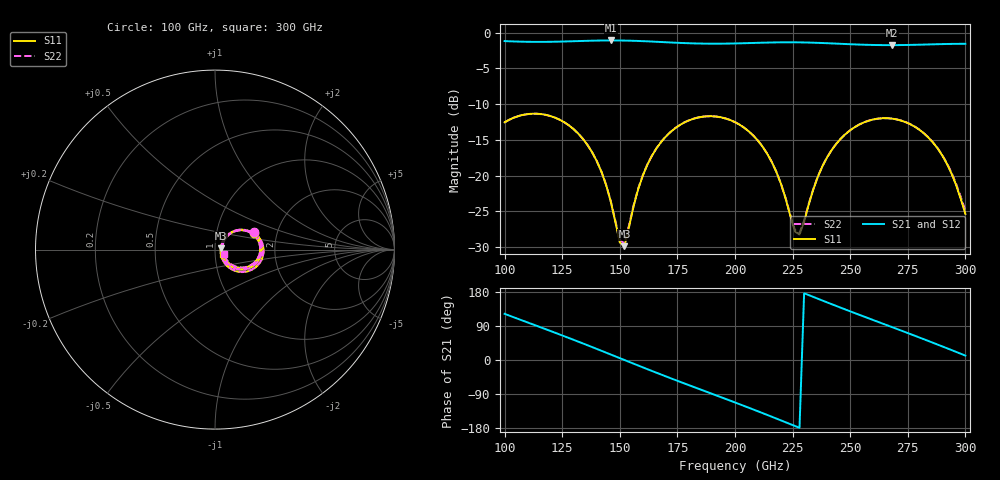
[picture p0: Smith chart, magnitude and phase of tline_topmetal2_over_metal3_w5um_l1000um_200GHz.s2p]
#  GHZ S DB R 50
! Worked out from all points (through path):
!   101 points, 100 GHz to 300 GHz, reference 50 ohm
!   highest |S21| = -1.10 dB at 146 GHz (marker M1); lowest = -1.8 dB at 268 GHz (marker M2)
!   group delay of S21, straight-line fit = 6.54 ps
!   lowest |S11| = -29.9 dB at 152 GHz (marker M3), VSWR 1.07, Z = 53.2 + j0.663 ohm
!   |S11| at or under -10 dB: start of sweep to end of sweep
!   |S22| runs from -29.5 to -11.4 dB; largest |S21 - S12| = 1e-13
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100  -12.55 23.8  -1.19 121.9  -1.19 121.9  -12.56 24.1
118  -11.52 -12.3  -1.30 80.9  -1.30 80.9  -11.52 -11.9
134  -14.87 -43.3  -1.17 43.7  -1.17 43.7  -14.87 -42.7
140  -17.97 -52.4  -1.12 29.3  -1.12 29.3  -17.96 -51.6
146  -23.54 -52.5  -1.10 14.7  -1.10 14.7  -23.47 -51.1
150  -29.36 -24.0  -1.11 4.9  -1.11 4.9  -29.03 -22.5
152  -29.88 11.2  -1.12 0.0  -1.12 0.0  -29.48 11.0
160  -19.98 50.0  -1.20 -19.4  -1.20 -19.4  -19.93 49.4
168  -15.28 39.9  -1.32 -38.5  -1.32 -38.5  -15.26 39.7
184  -11.88 9.8  -1.53 -75.5  -1.53 -75.5  -11.87 9.8
200  -12.53 -21.4  -1.52 -112.1  -1.52 -112.1  -12.53 -21.1
216  -18.13 -47.2  -1.39 -149.8  -1.39 -149.8  -18.11 -46.7
226  -27.82 -18.4  -1.36 -174.1  -1.36 -174.1  -27.61 -17.5
228  -28.27 8.7  -1.37 -179.0  -1.37 -179.0  -28.02 8.7
234  -21.92 46.4  -1.42 166.4  -1.42 166.4  -21.85 45.9
240  -17.44 45.0  -1.49 152.0  -1.49 152.0  -17.42 44.8
248  -14.19 33.0  -1.60 133.1  -1.60 133.1  -14.18 33.0
258  -12.33 14.7  -1.72 110.0  -1.72 110.0  -12.32 14.8
268  -12.03 -4.4  -1.76 87.1  -1.76 87.1  -12.02 -4.1
278  -13.16 -23.2  -1.71 64.1  -1.71 64.1  -13.15 -22.6
288  -16.24 -39.5  -1.63 40.6  -1.63 40.6  -16.20 -38.4
300  -25.38 -30.4  -1.57 11.6  -1.57 11.6  -24.93 -27.9
